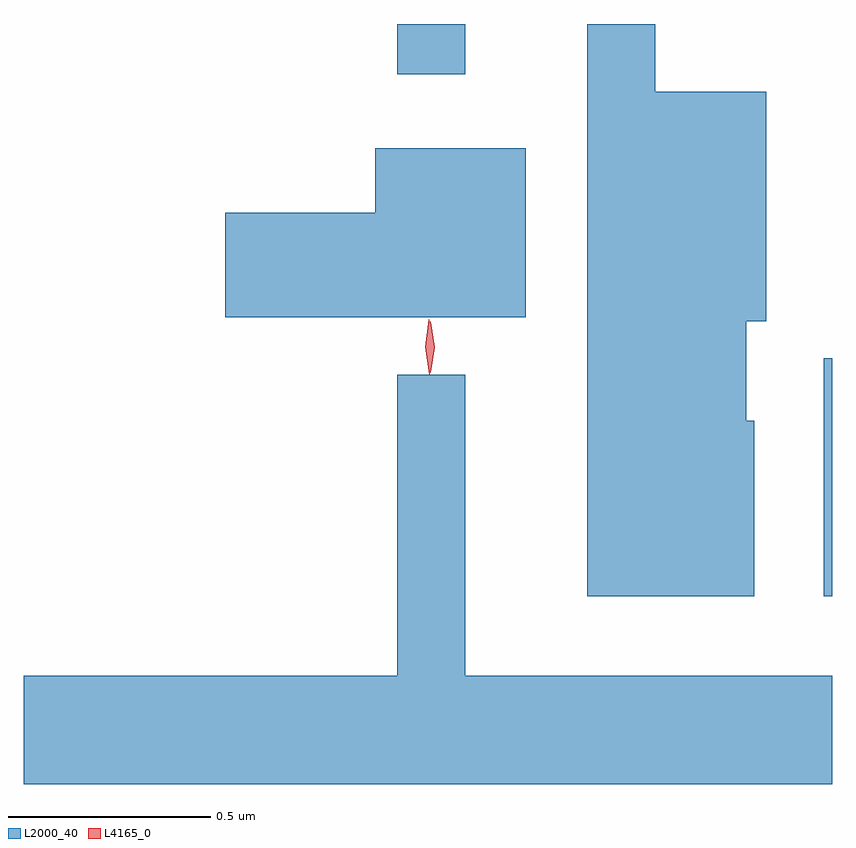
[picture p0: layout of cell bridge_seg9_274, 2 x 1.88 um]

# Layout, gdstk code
import gdstk
lib = gdstk.Library(unit=1e-6, precision=1e-09)
def R(c, l, rs):  # rectangles x0, y0, x1, y1
    for r in rs: c.add(gdstk.rectangle(r[:2], r[2:], *l))
def P(c, l, *ps):  # polygons
    for p in ps: c.add(gdstk.Polygon(p, *l))
L2000_40 = (2000, 40)
L4165_0 = (4165, 0)

bridge_seg9_274 = lib.new_cell('bridge_seg9_274')
R(bridge_seg9_274, L2000_40, [(1068.886,2052.221,1068.907,2052.809), (1067.831,2053.512,1067.999,2053.636)])
P(bridge_seg9_274, L2000_40, [(1068.714,2052.654),(1068.694,2052.654),(1068.694,2052.901),(1068.744,2052.901),(1068.744,2053.469),(1068.469,2053.469),(1068.469,2053.636),(1068.301,2053.636),(1068.301,2052.221),(1068.714,2052.221)],
  [(1068.149,2053.329),(1067.776,2053.329),(1067.776,2053.169),(1067.406,2053.169),(1067.406,2052.911),(1068.149,2052.911)],
  [(1068.907,2052.024),(1067.999,2052.024),(1067.999,2052.768),(1067.831,2052.768),(1067.831,2052.024),(1066.907,2052.024),(1066.907,2051.756),(1068.907,2051.756)])
P(bridge_seg9_274, L4165_0, [(1067.914,2052.773),(1067.913,2052.774),(1067.904,2052.837),(1067.913,2052.9),(1067.913,2052.9),(1067.914,2052.9),(1067.924,2052.837),(1067.914,2052.774)],
  [(1067.91,2052.77),(1067.91,2052.77),(1067.9,2052.838),(1067.909,2052.905),(1067.909,2052.906),(1067.91,2052.905),(1067.92,2052.838),(1067.911,2052.77)])

lib.write_gds('bridge_seg9_274.gds')
